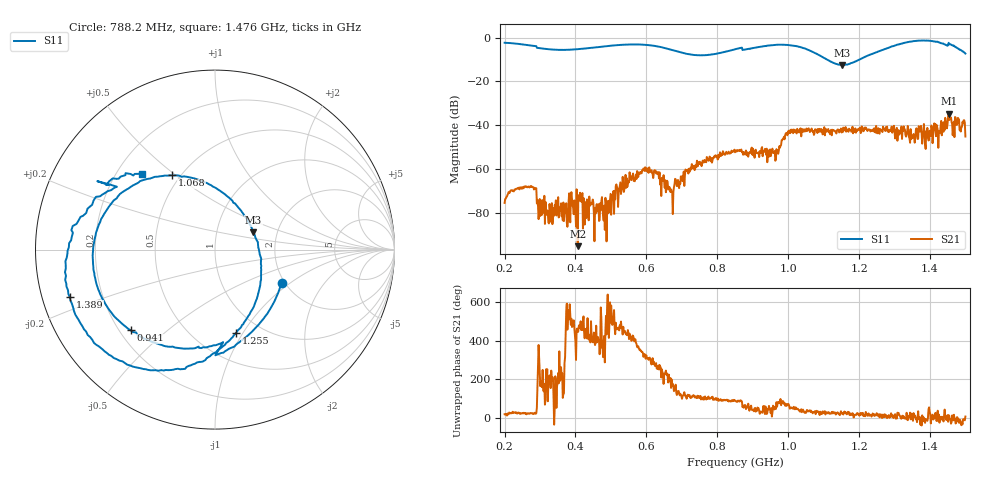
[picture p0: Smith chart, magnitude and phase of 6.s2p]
! NanoVNA-App
! Date: 2024-06-25 16:52:51
! Start: 200MHz Stop: 1.5GHz Points: 801
! S-Parameter data: F S11 S21 S12 S22
# Hz S RI R 50
!  Frequency  S11_Real  S11_Imag  S21_Real  S21_Imag  S12_Real  S12_Imag  S22_Real  S22_Imag
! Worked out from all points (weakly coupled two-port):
!   801 points, 200 MHz to 1.5 GHz, reference 50 ohm
!   highest |S21| = -34.74 dB at 1.453 GHz (marker M1); lowest = -95.3 dB at 406.4 MHz (marker M2)
!   lowest |S11| = -12.6 dB at 1.152 GHz (marker M3), VSWR 1.61, Z = 75.4 + j15.3 ohm
!   |S11| at or under -10 dB: 1.109 GHz to 1.201 GHz (92.09 MHz wide, 7.97 % of centre)
!   S12 and S22 are empty: the file has one direction only
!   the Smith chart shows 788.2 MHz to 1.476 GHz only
!   S11 on the Smith chart (normalised r, x): 788.2 MHz: 1.93, -0.86; 941 MHz: 0.24, -0.38; 1.068 GHz: 0.45, +0.49; 1.255 GHz: 0.77, -0.93; 1.389 GHz: 0.08, -0.16; 1.476 GHz: 0.30, +0.39
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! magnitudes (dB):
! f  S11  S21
! 200 MHz  -2.4  -75.6
! 273.1 MHz  -3.6  -68.2
! 325.1 MHz  -5.3  -84.9
! 406.4 MHz  -5.3  -95.3
! 417.8 MHz  -5.1  -75.1
! 484.4 MHz  -4.0  -73.2
! 555.9 MHz  -3.2  -64.7
! 633.9 MHz  -4.1  -61.5
! 669.6 MHz  -5.5  -69.4
! 788.2 MHz  -7.7  -54.9
! 850 MHz  -5.4  -52.4
! 941 MHz  -3.7  -57.0
! 967 MHz  -3.3  -51.0
! 1.006 GHz  -3.5  -43.7
! 1.068 GHz  -6.4  -42.5
! 1.152 GHz  -12.6  -42.5
! 1.255 GHz  -6.4  -41.4
! 1.284 GHz  -4.6  -43.2
! 1.389 GHz  -1.4  -42.7
! 1.453 GHz  -2.4  -34.7
! 1.476 GHz  -4.6  -40.0
! 1.5 GHz  -7.3  -45.2
